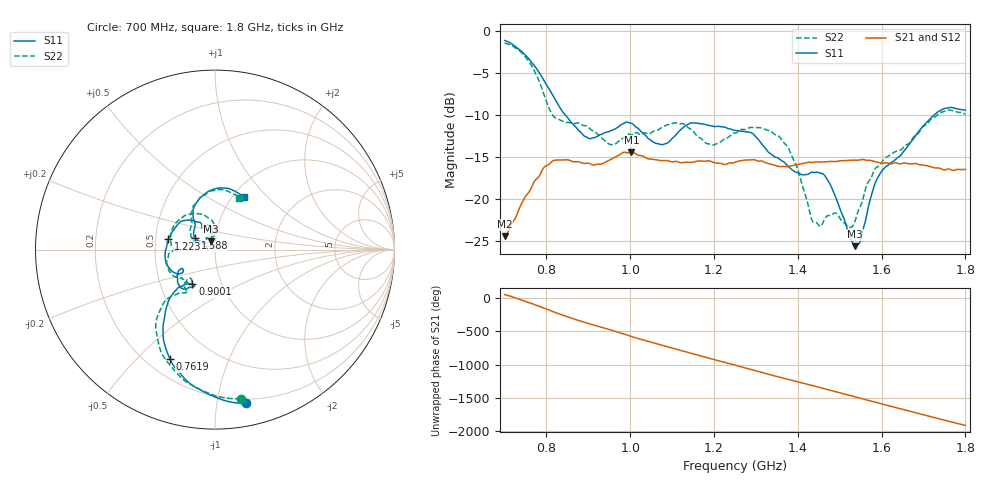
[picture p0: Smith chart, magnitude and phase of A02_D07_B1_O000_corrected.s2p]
! Created with skrf 1.9.0 (http://scikit-rf.org).
# Hz S RI R 50.0
!freq ReS11 ImS11 ReS21 ImS21 ReS12 ImS12 ReS22 ImS22
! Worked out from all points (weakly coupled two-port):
!   1601 points, 700 MHz to 1.8 GHz, reference 50 ohm
!   highest |S21| = -14.46 dB at 1.002 GHz (marker M1); lowest = -24.5 dB at 700 MHz (marker M2)
!   lowest |S11| = -25.7 dB at 1.537 GHz (marker M3), VSWR 1.11, Z = 47.5 + j4.41 ohm
!   |S11| at or under -10 dB: 843.9 MHz to 1.726 GHz (882.5 MHz wide, 68.7 % of centre)
!   |S22| runs from -23.5 to -1.5 dB; largest |S21 - S12| = 0.0037
!   S11 on the Smith chart (normalised r, x): 700 MHz: 0.17, -1.21; 761.9 MHz: 0.29, -0.63; 900.1 MHz: 0.73, -0.29; 1.223 GHz: 0.58, +0.08; 1.588 GHz: 0.79, +0.10; 1.8 GHz: 1.12, +0.75
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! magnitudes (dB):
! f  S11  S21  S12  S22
! 700 MHz  -1.2  -24.5  -24.3  -1.5
! 761.9 MHz  -3.6  -18.9  -18.8  -4.0
! 816.2 MHz  -7.8  -15.5  -15.6  -10.2
! 883.6 MHz  -12.2  -15.7  -15.6  -11.2
! 900.1 MHz  -12.8  -15.8  -15.8  -11.5
! 954.4 MHz  -11.9  -15.3  -15.3  -13.6
! 1.002 GHz  -11.0  -14.5  -14.6  -12.4
! 1.067 GHz  -13.5  -15.4  -15.4  -11.8
! 1.144 GHz  -11.0  -15.7  -15.7  -11.7
! 1.185 GHz  -11.3  -15.5  -15.6  -13.5
! 1.223 GHz  -11.5  -15.9  -15.9  -12.9
! 1.25 GHz  -11.9  -15.7  -15.6  -12.2
! 1.358 GHz  -15.4  -16.2  -16.1  -12.7
! 1.397 GHz  -16.9  -16.0  -16.0  -16.1
! 1.434 GHz  -16.9  -15.7  -15.7  -22.6
! 1.472 GHz  -17.9  -15.6  -15.6  -22.0
! 1.537 GHz  -25.7  -15.4  -15.4  -22.7
! 1.55 GHz  -24.9  -15.4  -15.4  -20.8
! 1.588 GHz  -17.8  -15.6  -15.6  -16.3
! 1.617 GHz  -15.9  -15.8  -15.8  -14.9
! 1.734 GHz  -9.7  -16.3  -16.4  -10.0
! 1.8 GHz  -9.5  -16.5  -16.5  -10.0
